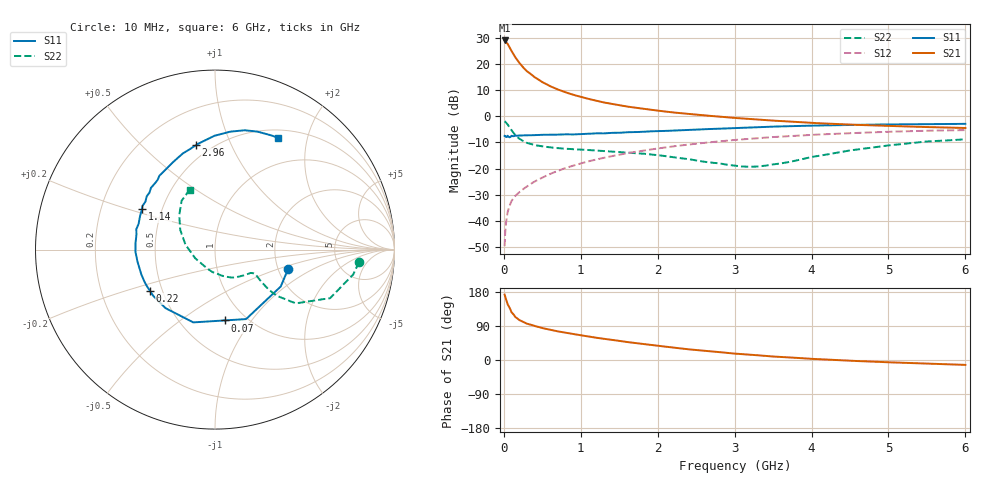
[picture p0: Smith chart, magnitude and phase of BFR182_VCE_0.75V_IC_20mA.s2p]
! Infineon Technologies  Discrete & RF Semiconductors
! BFR182
! VCE = 0.75 V,  IC =  20 mA
! Common Emitter S-Parameters:  Nov 2015
# GHz  S  MA  R  50
!  f  S11  S21  S12  S22
! GHz  MAG  ANG  MAG  ANG  MAG  ANG  MAG  ANG
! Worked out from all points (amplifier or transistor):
!   210 points, 10 MHz to 6 GHz, reference 50 ohm
!   highest |S21| = 29.0 dB at 10 MHz (marker M1)
!   |S21| within 3 dB of that: start of sweep to 80.35 MHz
!   unconditionally stable (mu >= 1): start of sweep to 17.43 MHz; 214.2 MHz to end of sweep
!   at 185 MHz: K = 0.94, MSG = 25.3 dB, |S12| = -29.4 dB
!   at 1.52 GHz: K = 1.27, MAG = 6.2 dB, |S12| = -14.6 dB
!   at 6 GHz: K = 1.07, MAG = -1.3 dB, |S12| = -5.3 dB
!   S11 on the Smith chart (normalised r, x): 10 MHz: 2.26, -0.60; 70 MHz: 0.80, -0.75; 220 MHz: 0.43, -0.24; 1.14 GHz: 0.39, +0.22; 2.96 GHz: 0.42, +0.74; 6 GHz: 0.60, +1.54
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0.01  0.4214 -15.0  28.04 172.5  0.0033 80.7  0.8052 -5.0
0.02  0.4201 -29.3  27.37 165.1  0.0067 78.0  0.7826 -10.2
0.05  0.4241 -65.9  24.04 146.6  0.0149 69.9  0.6958 -22.9
0.07  0.3984 -82.0  21.19 139.8  0.0185 64.7  0.6309 -26.6
0.1  0.4232 -106.6  17.68 125.9  0.0241 59.9  0.5399 -33.7
0.15  0.4269 -130.1  13.26 113.2  0.0302 59.0  0.4322 -36.7
0.2  0.43 -143.5  10.53 105.6  0.0352 60.5  0.3735 -36.7
0.22  0.4292 -147.6  9.734 103.6  0.0373 60.8  0.3586 -36.3
0.26  0.4317 -155.2  8.299 99.3  0.0415 61.8  0.3311 -35.4
0.3  0.4331 -161.2  7.245 95.8  0.0455 63.4  0.3099 -34.5
0.4  0.4371 -171.2  5.573 89.7  0.0566 66.0  0.281 -32.7
0.5  0.4433 -178.4  4.491 84.3  0.0672 67.1  0.2658 -31.6
0.7  0.4452 169.5  3.252 75.6  0.0901 68.3  0.2458 -32.1
1.02  0.4576 155.8  2.303 64.6  0.1279 67.0  0.2304 -35.6
1.14  0.4655 151.1  2.08 60.8  0.1422 66.2  0.2246 -37.7
1.6  0.4956 136.1  1.534 47.5  0.1965 61.8  0.2026 -47.7
2.02  0.5202 123.6  1.269 37.2  0.2447 56.9  0.1797 -59.9
2.96  0.5913 100.4  0.941 17.7  0.3483 44.4  0.1157 -108.8
3.1  0.6016 97.6  0.908 15.5  0.3618 42.3  0.1098 -121.0
4.1  0.6665 81.2  0.735 2.1  0.4484 28.4  0.1757 165.6
5.1  0.6998 69.2  0.648 -6.7  0.5104 15.3  0.2868 133.2
6  0.716 60.6  0.597 -12.9  0.5435 3.5  0.3627 112.7
